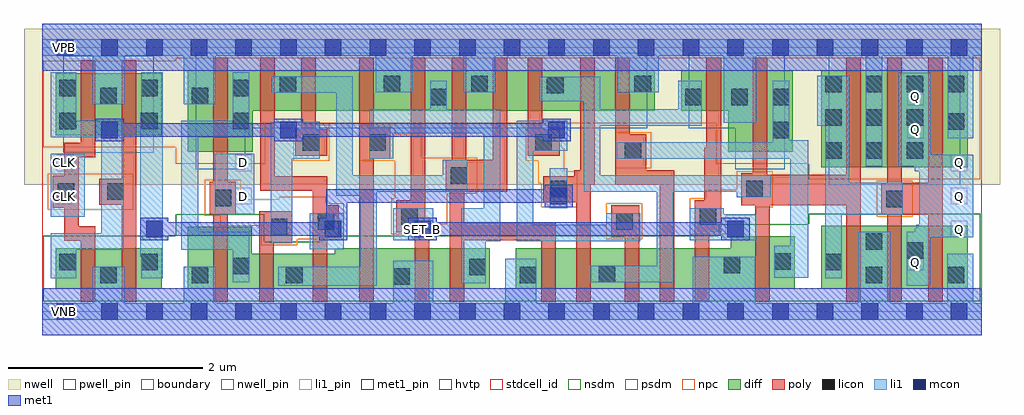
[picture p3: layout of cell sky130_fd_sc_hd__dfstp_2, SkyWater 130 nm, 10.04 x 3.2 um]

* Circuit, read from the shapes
.subckt sky130_fd_sc_hd__dfstp_2 CLK D Q SET_B VGND VNB VPB VPWR
XM1 VGND CLK n1 VNB sky130_fd_pr__nfet_01v8 w=0.42 l=0.15
XM2 n2 n1 VGND VNB sky130_fd_pr__nfet_01v8 w=0.42 l=0.15
XM3 n3 D VGND VNB sky130_fd_pr__nfet_01v8 w=0.64 l=0.15
XM4 n4 n1 n3 VNB sky130_fd_pr__nfet_01v8 w=0.36 l=0.15
XM5 n5 n2 n4 VNB sky130_fd_pr__nfet_01v8 w=0.36 l=0.15
XM6 VGND n6 n5 VNB sky130_fd_pr__nfet_01v8 w=0.42 l=0.15
XM7 n7 SET_B VGND VNB sky130_fd_pr__nfet_01v8 w=0.42 l=0.15
XM8 n6 n4 n7 VNB sky130_fd_pr__nfet_01v8 w=0.42 l=0.15
XM9 n8 n4 VGND VNB sky130_fd_pr__nfet_01v8 w=0.42 l=0.15
XM10 n9 n2 n8 VNB sky130_fd_pr__nfet_01v8 w=0.42 l=0.15
XM11 n10 n1 n9 VNB sky130_fd_pr__nfet_01v8 w=0.42 l=0.15
XM12 n11 n12 n10 VNB sky130_fd_pr__nfet_01v8 w=0.42 l=0.15
XM13 VGND SET_B n11 VNB sky130_fd_pr__nfet_01v8 w=0.42 l=0.15
XM14 n12 n9 VGND VNB sky130_fd_pr__nfet_01v8 w=0.54 l=0.15
XM15 VGND n9 n13 VNB sky130_fd_pr__nfet_01v8 w=0.65 l=0.15
XM16 Q n13 VGND VNB sky130_fd_pr__nfet_01v8 w=0.65 l=0.15 m=2
XM17 VPWR CLK n1 VPB sky130_fd_pr__pfet_01v8_hvt w=0.64 l=0.15
XM18 n2 n1 VPWR VPB sky130_fd_pr__pfet_01v8_hvt w=0.64 l=0.15
XM19 n3 D VPWR VPB sky130_fd_pr__pfet_01v8_hvt w=0.84 l=0.15
XM20 n4 n2 n3 VPB sky130_fd_pr__pfet_01v8_hvt w=0.42 l=0.15
XM21 n14 n1 n4 VPB sky130_fd_pr__pfet_01v8_hvt w=0.42 l=0.15
XM22 VPWR n6 n14 VPB sky130_fd_pr__pfet_01v8_hvt w=0.42 l=0.15
XM23 n6 SET_B VPWR VPB sky130_fd_pr__pfet_01v8_hvt w=0.42 l=0.15
XM24 VPWR n4 n6 VPB sky130_fd_pr__pfet_01v8_hvt w=0.42 l=0.15
XM25 n15 n4 VPWR VPB sky130_fd_pr__pfet_01v8_hvt w=0.42 l=0.15
XM26 n9 n1 n15 VPB sky130_fd_pr__pfet_01v8_hvt w=0.42 l=0.15
XM27 n16 n2 n9 VPB sky130_fd_pr__pfet_01v8_hvt w=0.42 l=0.15
XM28 VPWR n12 n16 VPB sky130_fd_pr__pfet_01v8_hvt w=0.42 l=0.15
XM29 VPWR SET_B n9 VPB sky130_fd_pr__pfet_01v8_hvt w=0.42 l=0.15
XM30 n12 n9 VPWR VPB sky130_fd_pr__pfet_01v8_hvt w=0.84 l=0.15
XM31 VPWR n9 n13 VPB sky130_fd_pr__pfet_01v8_hvt w=1 l=0.15
XM32 Q n13 VPWR VPB sky130_fd_pr__pfet_01v8_hvt w=1 l=0.15 m=2
.ends

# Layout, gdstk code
import gdstk
lib = gdstk.Library(unit=1e-6, precision=1e-09)
def R(c, l, rs):  # rectangles x0, y0, x1, y1
    for r in rs: c.add(gdstk.rectangle(r[:2], r[2:], *l))
def A(c, l, x, y, w, h, nx, ny, dx, dy):  # array of equal rectangles
    R(c, l, [(x+i*dx, y+j*dy, x+i*dx+w, y+j*dy+h) for i in range(nx) for j in range(ny)])
nwell_pin = (64, 16)
nwell = (64, 20)
diff = (65, 20)
poly = (66, 20)
licon = (66, 44)
li1_pin = (67, 16)
li1 = (67, 20)
mcon = (67, 44)
met1_pin = (68, 16)
met1 = (68, 20)
hvtp = (78, 44)
stdcell_id = (81, 4)
nsdm = (93, 44)
psdm = (94, 20)
npc = (95, 20)
pwell_pin = (122, 16)
boundary = (235, 4)

sky130_fd_sc_hd__dfstp_2 = lib.new_cell('sky130_fd_sc_hd__dfstp_2')
R(sky130_fd_sc_hd__dfstp_2, nwell_pin, [(0.145,2.635,0.315,2.805)])
R(sky130_fd_sc_hd__dfstp_2, nwell, [(-0.19,1.305,9.85,2.91)])
R(sky130_fd_sc_hd__dfstp_2, diff, [(0.135,0.235,1.225,0.655), (1.495,0.235,4.6,0.595), (4.87,0.235,7.74,0.655), (8.01,0.235,9.52,0.885), (1.495,0.595,2.155,0.875), (3.005,0.595,4.6,0.655), (7.08,0.655,7.74,0.775), (8.01,1.485,9.52,2.485), (1.495,1.645,2.165,2.065), (7.055,1.645,7.72,2.065), (0.135,1.815,1.225,2.455), (1.495,2.065,6.3,2.485), (6.57,2.065,7.72,2.485)])
R(sky130_fd_sc_hd__dfstp_2, poly, [(0.395,0.105,0.545,0.73), (0.815,0.105,0.965,1.1), (1.755,0.105,1.905,1.005), (2.23,0.105,2.38,0.705), (2.78,0.105,2.93,0.765), (3.26,0.105,3.41,1.575), (3.83,0.105,3.98,0.815), (4.19,0.105,4.34,0.735), (5.13,0.105,5.28,0.735), (5.49,0.105,5.64,1.125), (5.99,0.105,6.14,0.765), (6.35,0.105,6.5,1.305), (6.71,0.105,6.86,0.815), (7.33,0.105,7.48,1.095), (8.27,0.105,8.42,1.095), (8.69,0.105,8.84,0.995), (9.11,0.105,9.26,0.995), (2.23,0.705,2.57,1.035), (0.225,0.73,0.545,0.88), (4.19,0.735,5.28,0.915), (2.78,0.765,3.05,1.095), (5.85,0.765,6.14,1.095), (3.64,0.815,3.98,0.965), (6.71,0.815,6.98,1.145), (0.225,0.88,0.375,1.07), (4.19,0.915,4.34,1.235), (3.64,0.965,3.94,1.145), (8.63,0.995,9.26,1.325), (1.72,1.005,1.99,1.335), (0.105,1.07,0.375,1.4), (2.78,1.095,2.93,1.245), (7.19,1.095,8.42,1.41), (0.585,1.1,0.965,1.37), (5.15,1.125,5.64,1.305), (3.79,1.145,3.94,2.615), (6.81,1.145,6.98,1.685), (4.15,1.235,4.78,1.565), (2.24,1.245,2.93,1.395), (5.15,1.305,5.68,1.395), (5.89,1.305,6.5,1.455), (8.69,1.325,8.84,2.615), (9.11,1.325,9.26,2.615), (1.755,1.335,1.905,2.615), (0.815,1.37,0.965,2.585), (2.24,1.395,2.39,2.615), (5.47,1.395,5.68,1.455), (0.225,1.4,0.375,1.59), (7.19,1.41,7.455,1.425), (8.27,1.41,8.42,2.615), (7.305,1.425,7.455,2.615), (5.53,1.455,5.68,2.615), (5.89,1.455,6.21,1.825), (4.21,1.565,4.36,2.615), (4.63,1.565,4.78,2.615), (3.26,1.575,3.58,1.905), (0.225,1.59,0.545,1.74), (2.6,1.605,2.93,1.875), (4.99,1.605,5.32,1.875), (6.83,1.685,6.98,2.615), (0.395,1.74,0.545,2.585), (5.89,1.825,6.04,2.615), (2.66,1.875,2.81,2.615), (4.99,1.875,5.14,2.615), (3.26,1.905,3.41,2.615)])
A(sky130_fd_sc_hd__dfstp_2, licon, 8.05, 1.575, 0.17, 0.17, 3, 2, 0.42, 0.34)
A(sky130_fd_sc_hd__dfstp_2, licon, 8.05, 2.255, 0.17, 0.17, 4, 1, 0.42, 0)
R(sky130_fd_sc_hd__dfstp_2, licon, [(3.61,0.275,3.78,0.445), (0.595,0.295,0.765,0.465), (1.535,0.295,1.705,0.465), (2.505,0.295,2.675,0.465), (4.91,0.295,5.08,0.465), (8.47,0.295,8.64,0.465), (9.31,0.295,9.48,0.465), (5.72,0.305,5.89,0.475), (4.39,0.375,4.56,0.545), (1.955,0.385,2.125,0.555), (7.01,0.395,7.18,0.565), (0.175,0.425,0.345,0.595), (1.015,0.425,1.185,0.595), (8.05,0.425,8.22,0.595), (7.53,0.43,7.7,0.6), (8.89,0.545,9.06,0.715), (8.47,0.635,8.64,0.805), (2.35,0.785,2.52,0.955), (2.83,0.845,3,1.015), (5.9,0.845,6.07,1.015), (3.69,0.895,3.86,1.065), (6.76,0.895,6.93,1.065), (8.68,1.075,8.85,1.245), (1.77,1.085,1.94,1.255), (0.155,1.15,0.325,1.32), (0.665,1.15,0.835,1.32), (5.23,1.175,5.4,1.345), (7.24,1.175,7.41,1.345), (4.2,1.315,4.37,1.485), (5.99,1.575,6.16,1.745), (2.68,1.655,2.85,1.825), (3.36,1.655,3.53,1.825), (5.07,1.655,5.24,1.825), (7.51,1.785,7.68,1.955), (9.31,1.87,9.48,2.04), (0.175,1.875,0.345,2.045), (1.015,1.875,1.185,2.045), (1.955,1.875,2.125,2.045), (3.99,2.125,4.16,2.295), (6.61,2.125,6.78,2.295), (7.085,2.125,7.255,2.295), (7.51,2.125,7.68,2.295), (0.595,2.135,0.765,2.305), (1.535,2.135,1.705,2.305), (0.175,2.215,0.345,2.385), (1.015,2.215,1.185,2.385), (1.955,2.215,2.125,2.385), (5.19,2.245,5.36,2.415), (2.44,2.25,2.61,2.42), (3.51,2.255,3.68,2.425), (4.41,2.255,4.58,2.425), (6.09,2.255,6.26,2.425)])
A(sky130_fd_sc_hd__dfstp_2, li1_pin, 9.345, 0.765, 0.17, 0.17, 1, 3, 0, 0.34)
R(sky130_fd_sc_hd__dfstp_2, li1_pin, [(0.145,-0.085,0.315,0.085), (8.895,0.425,9.065,0.595), (3.825,0.765,3.995,0.935), (0.145,1.105,0.315,1.275), (1.985,1.105,2.155,1.275), (0.145,1.445,0.315,1.615), (1.985,1.445,2.155,1.615), (8.895,1.785,9.065,1.955), (8.895,2.125,9.065,2.295), (0.145,2.635,0.315,2.805)])
R(sky130_fd_sc_hd__dfstp_2, li1, [(0,-0.085,9.66,0.085), (0.515,0.085,0.845,0.465), (1.455,0.085,1.785,0.465), (3.61,0.085,4.02,0.525), (4.76,0.085,5.08,0.545), (6.69,0.085,7.33,0.565), (8.39,0.085,8.72,0.825), (9.305,0.085,9.575,0.595), (2.425,0.265,3.44,0.465), (8.89,0.265,9.135,0.765), (4.31,0.295,4.56,0.725), (1.955,0.305,2.125,0.635), (5.64,0.305,6.49,0.475), (0.085,0.345,0.345,0.635), (1.015,0.345,1.235,0.565), (8.05,0.345,8.22,0.995), (7.53,0.35,7.88,0.68), (3.27,0.465,3.44,1.195), (6.32,0.475,6.49,1.235), (1.005,0.565,1.235,2.045), (0.085,0.635,0.835,0.805), (1.43,0.635,2.125,0.825), (2.75,0.645,3.1,1.015), (7.69,0.68,7.88,1.575), (2.35,0.705,2.57,1.575), (4.31,0.725,4.71,1.065), (4.88,0.725,6.15,0.895), (3.61,0.735,4.02,1.065), (6.66,0.735,7.34,1.005), (8.89,0.765,9.575,0.825), (0.605,0.805,0.835,1.795), (1.43,0.825,1.6,1.795), (8.975,0.825,9.575,0.855), (8.99,0.855,9.575,0.895), (4.88,0.895,5.05,1.655), (5.8,0.895,6.15,1.015), (9.02,0.895,9.575,1.445), (0.085,0.975,0.435,1.625), (8.05,0.995,8.85,1.325), (1.77,1.005,2.18,1.625), (6.66,1.005,7.01,1.065), (4.54,1.065,4.71,1.835), (5.22,1.065,5.4,1.475), (7.14,1.175,7.49,1.235), (3.02,1.195,3.44,1.235), (3.02,1.235,4.37,1.405), (5.57,1.235,7.49,1.405), (8.05,1.325,8.3,1.915), (3.02,1.405,3.19,2.25), (4.12,1.405,4.37,1.565), (5.57,1.405,5.74,1.915), (8.975,1.445,9.575,1.495), (8.47,1.495,8.64,2.635), (8.81,1.495,9.575,1.615), (2.35,1.575,2.85,1.955), (3.36,1.575,3.61,1.835), (5.91,1.575,7.88,1.745), (8.81,1.615,9.14,2.46), (4.88,1.655,5.4,1.965), (7.51,1.745,7.88,1.765), (7.51,1.765,7.68,2.375), (9.31,1.785,9.575,2.635), (0.085,1.795,0.835,1.965), (1.43,1.795,2.125,1.965), (3.36,1.835,4.71,2.085), (5.57,1.915,6.78,2.085), (7.97,1.915,8.3,2.425), (7.01,1.945,7.34,2.635), (0.085,1.965,0.345,2.465), (1.955,1.965,2.125,2.465), (1.015,2.045,1.235,2.465), (3.99,2.085,4.16,2.375), (5.57,2.085,5.74,2.165), (6.54,2.085,6.78,2.375), (0.515,2.135,0.845,2.635), (1.455,2.135,1.785,2.635), (5.11,2.165,5.74,2.415), (2.36,2.25,3.19,2.42), (3.43,2.255,3.81,2.635), (4.33,2.255,4.66,2.635), (5.92,2.255,6.34,2.635), (0,2.635,9.66,2.805)])
A(sky130_fd_sc_hd__dfstp_2, mcon, 0.145, -0.085, 0.17, 0.17, 21, 2, 0.46, 2.72)
R(sky130_fd_sc_hd__dfstp_2, mcon, [(1.065,0.765,1.235,0.935), (2.905,0.765,3.075,0.935), (3.825,0.765,3.995,0.935), (7.045,0.765,7.215,0.935), (5.225,1.105,5.395,1.275), (0.605,1.785,0.775,1.955), (2.445,1.785,2.615,1.955), (5.205,1.785,5.375,1.955)])
R(sky130_fd_sc_hd__dfstp_2, met1_pin, [(0.145,-0.085,0.315,0.085), (0.145,2.635,0.315,2.805)])
R(sky130_fd_sc_hd__dfstp_2, met1, [(0,-0.24,9.66,0.24), (1.005,0.735,1.295,0.78), (2.845,0.735,3.135,0.78), (3.765,0.735,4.055,0.78), (6.985,0.735,7.275,0.78), (1.005,0.78,3.135,0.92), (3.765,0.78,7.275,0.92), (1.005,0.92,1.295,0.965), (2.845,0.92,3.135,0.965), (3.765,0.92,4.055,0.965), (6.985,0.92,7.275,0.965), (2.92,0.965,3.135,1.12), (5.165,1.075,5.455,1.12), (2.92,1.12,5.455,1.26), (5.165,1.26,5.455,1.305), (0.545,1.755,0.835,1.8), (2.385,1.755,2.675,1.8), (5.145,1.755,5.435,1.8), (0.545,1.8,5.435,1.94), (0.545,1.94,0.835,1.985), (2.385,1.94,2.675,1.985), (5.145,1.94,5.435,1.985), (0,2.48,9.66,2.96)])
R(sky130_fd_sc_hd__dfstp_2, hvtp, [(8.09,1.305,9.44,2.665), (1.575,1.465,2.085,1.885), (7.125,1.465,7.635,1.885), (0.215,1.635,1.145,2.635), (1.575,1.885,6.22,2.665), (6.65,1.885,7.635,2.665)])
R(sky130_fd_sc_hd__dfstp_2, stdcell_id, [(0,0,9.66,2.72)])
R(sky130_fd_sc_hd__dfstp_2, nsdm, [(0.01,0.11,9.645,0.72), (0.01,0.72,2.28,0.78), (2.88,0.72,9.645,0.78), (1.37,0.78,2.28,1), (6.955,0.78,9.645,0.9), (7.885,0.9,9.645,1.01)])
R(sky130_fd_sc_hd__dfstp_2, psdm, [(7.885,1.36,9.645,1.52), (1.37,1.52,2.29,1.69), (6.93,1.52,9.645,1.94), (0.01,1.69,2.29,1.94), (0.01,1.94,9.645,2.58), (1.37,2.58,9.645,2.61)])
R(sky130_fd_sc_hd__dfstp_2, npc, [(2.25,0.685,2.62,0.745), (2.25,0.745,3.1,0.885), (5.8,0.745,6.17,1.115), (3.59,0.795,3.96,0.9), (6.66,0.795,7.03,0.985), (1.83,0.885,3.1,0.985), (3.59,0.9,4.165,1.165), (8.58,0.975,8.95,1.345), (1.67,0.985,3.1,1.115), (6.66,0.985,7.345,1.075), (0.055,1.05,0.935,1.42), (5.13,1.075,5.5,1.32), (6.66,1.075,7.51,1.165), (1.67,1.115,2.915,1.155), (1.67,1.155,2.04,1.355), (2.435,1.155,2.915,1.185), (3.625,1.165,4.165,1.215), (6.825,1.165,7.51,1.255), (3.625,1.215,4.47,1.555), (7.14,1.255,7.51,1.445), (5.1,1.32,5.5,1.445), (5.1,1.445,5.37,1.555), (5.89,1.475,6.26,1.845), (2.58,1.555,2.95,1.925), (3.26,1.555,4.47,1.585), (4.97,1.555,5.37,1.68), (3.26,1.585,3.9,1.825), (4.97,1.68,5.34,1.925), (3.26,1.825,3.63,1.925)])
R(sky130_fd_sc_hd__dfstp_2, pwell_pin, [(0.145,-0.085,0.315,0.085)])
R(sky130_fd_sc_hd__dfstp_2, boundary, [(0,0,9.66,2.72)])
sky130_fd_sc_hd__dfstp_2.add(gdstk.Label('VPB', (0.23,2.72), layer=64, texttype=5))
sky130_fd_sc_hd__dfstp_2.add(gdstk.Label('VNB', (0.23,0), layer=64, texttype=59))
sky130_fd_sc_hd__dfstp_2.add(gdstk.Label('VPB', (0.23,2.72), layer=64, texttype=5))
sky130_fd_sc_hd__dfstp_2.add(gdstk.Label('VNB', (0.23,0), layer=64, texttype=59))
sky130_fd_sc_hd__dfstp_2.add(gdstk.Label('VPWR', (0.23,2.72), layer=68, texttype=5))
sky130_fd_sc_hd__dfstp_2.add(gdstk.Label('VPWR', (0.23,2.72), layer=67, texttype=5))
sky130_fd_sc_hd__dfstp_2.add(gdstk.Label('VGND', (0.23,0), layer=68, texttype=5))
sky130_fd_sc_hd__dfstp_2.add(gdstk.Label('VGND', (0.23,0), layer=67, texttype=5))
sky130_fd_sc_hd__dfstp_2.add(gdstk.Label('Q', (8.98,0.51), layer=67, texttype=5))
sky130_fd_sc_hd__dfstp_2.add(gdstk.Label('Q', (8.98,1.87), layer=67, texttype=5))
sky130_fd_sc_hd__dfstp_2.add(gdstk.Label('Q', (8.98,2.21), layer=67, texttype=5))
sky130_fd_sc_hd__dfstp_2.add(gdstk.Label('Q', (9.43,1.19), layer=67, texttype=5))
sky130_fd_sc_hd__dfstp_2.add(gdstk.Label('Q', (9.43,1.53), layer=67, texttype=5))
sky130_fd_sc_hd__dfstp_2.add(gdstk.Label('Q', (9.43,0.85), layer=67, texttype=5))
sky130_fd_sc_hd__dfstp_2.add(gdstk.Label('SET_B', (3.91,0.85), layer=67, texttype=5))
sky130_fd_sc_hd__dfstp_2.add(gdstk.Label('D', (2.07,1.19), layer=67, texttype=5))
sky130_fd_sc_hd__dfstp_2.add(gdstk.Label('D', (2.07,1.53), layer=67, texttype=5))
sky130_fd_sc_hd__dfstp_2.add(gdstk.Label('CLK', (0.23,1.19), layer=67, texttype=5))
sky130_fd_sc_hd__dfstp_2.add(gdstk.Label('CLK', (0.23,1.53), layer=67, texttype=5))

lib.write_gds('sky130_fd_sc_hd__dfstp_2.gds')
